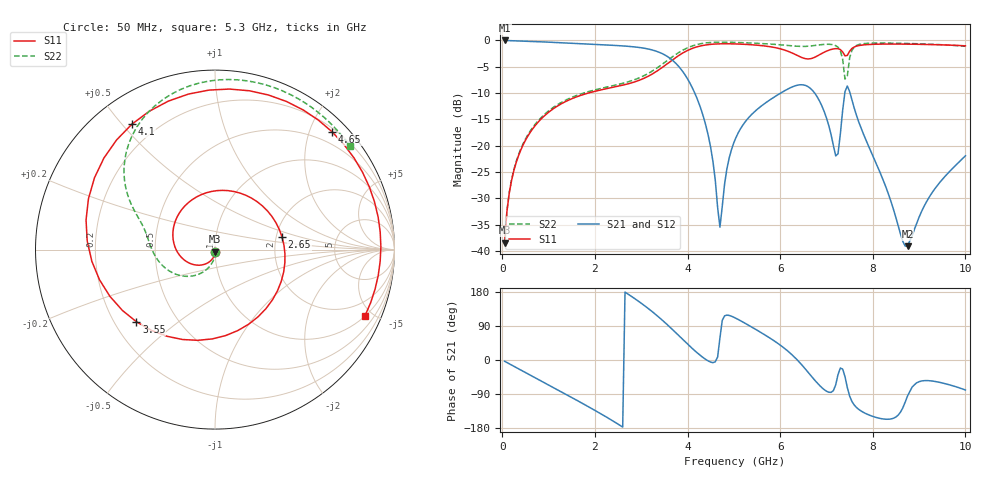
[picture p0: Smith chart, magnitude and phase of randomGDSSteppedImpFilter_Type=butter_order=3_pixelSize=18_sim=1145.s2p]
! freq	dB(S11)	phase(S11)	dB(S12)	phase(S12)
!  dB(S21)	phase(S21)	dB(S22)	phase(S22)
!S-par simulation data
#  GHz  S  DB  R 50
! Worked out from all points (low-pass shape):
!   200 points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, 50 MHz to 10 GHz, reference 50 ohm
!   highest |S21| = -0.02 dB at 50 MHz (marker M1); lowest = -39.1 dB at 8.75 GHz (marker M2)
!   |S21| within 3 dB of the highest: start of sweep to 3.557 GHz
!   lowest |S11| = -38.4 dB at 50 MHz (marker M3), VSWR 1.02, Z = 50.1 - j1.2 ohm
!   |S11| at or under -10 dB: start of sweep to 1.857 GHz
!   |S22| runs from -38.3 to -0.3 dB; largest |S21 - S12| = 0
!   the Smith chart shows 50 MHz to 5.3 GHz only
!   S11 on the Smith chart (normalised r, x): 50 MHz: 1.00, -0.02; 2.65 GHz: 2.16, +0.35; 3.55 GHz: 0.29, -0.36; 4.1 GHz: 0.11, +0.53; 4.65 GHz: 0.26, +2.38; 5.3 GHz: 1.01, -4.52
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0.05  -38.38 -86.5  -0.02 -3.4  -0.02 -3.4  -38.30 -84.8
0.2  -26.59 -102.7  -0.06 -13.3  -0.06 -13.3  -26.43 -95.3
0.5  -18.97 -130.6  -0.15 -33.1  -0.15 -33.1  -18.73 -112.0
1.75  -10.28 114.3  -0.67 -115.8  -0.67 -115.8  -10.02 -166.6
2.65  -8.40 10.4  -1.08 179.1  -1.08 179.1  -8.04 166.4
3.4  -5.47 -109.8  -2.31 111.0  -2.31 111.0  -4.88 148.3
3.55  -4.52 -137.4  -2.98 94.7  -2.98 94.7  -3.91 142.3
4.1  -1.53 123.6  -8.94 30.7  -8.94 30.7  -1.06 109.2
4.65  -0.67 45.2  -31.72 8.0  -31.72 8.0  -0.35 72.9
4.7  -0.66 39.2  -35.45 58.5  -35.45 58.5  -0.35 69.9
5.05  -0.68 1.0  -18.36 109.8  -18.36 109.8  -0.40 50.3
5.3  -0.79 -23.8  -14.87 93.0  -14.87 93.0  -0.48 37.4
6.05  -1.72 -106.6  -9.80 34.9  -9.80 34.9  -0.88 2.5
6.4  -2.99 -173.3  -8.46 -3.8  -8.46 -3.8  -1.13 -11.1
6.7  -3.38 98.1  -9.52 -46.6  -9.52 -46.6  -1.03 -21.4
7.15  -1.63 -5.2  -19.98 -80.6  -19.98 -80.6  -0.85 -45.2
7.3  -1.75 -27.8  -17.74 -21.1  -17.74 -21.1  -1.98 -60.7
7.45  -2.87 -33.6  -8.66 -72.3  -8.66 -72.3  -6.77 -25.7
7.6  -1.25 -45.3  -12.87 -118.8  -12.87 -118.8  -1.27 -36.0
8.35  -0.70 -96.9  -29.47 -156.2  -29.47 -156.2  -0.52 -74.8
8.75  -0.72 -117.4  -39.06 -95.1  -39.06 -95.1  -0.59 -89.4
10  -1.04 177.2  -21.91 -79.1  -21.91 -79.1  -1.13 -136.6
